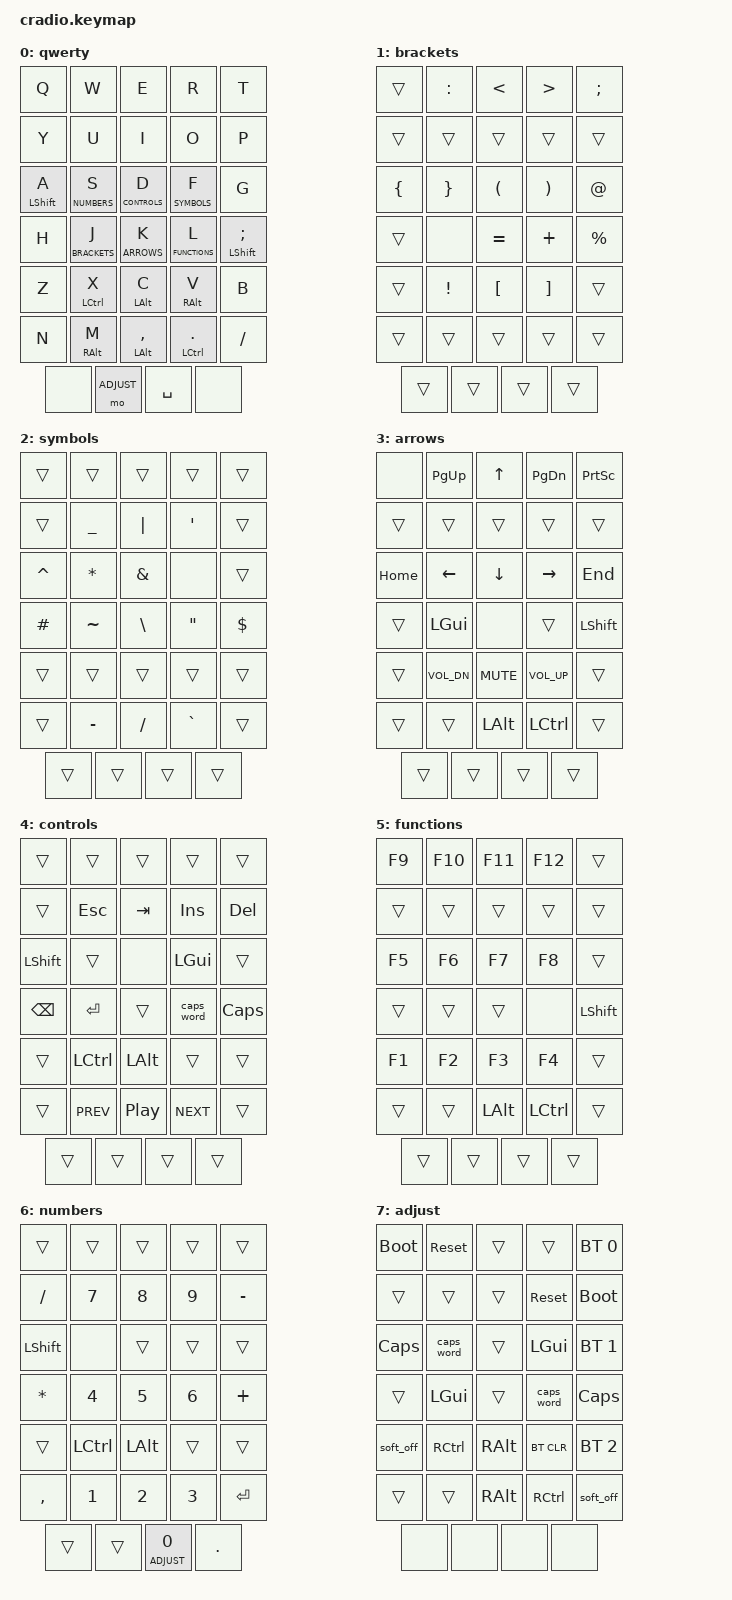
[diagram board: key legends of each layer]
// Copyright (c) 2022 The ZMK Contributors
// SPDX-License-Identifier: MIT

#include <behaviors.dtsi>
#include <dt-bindings/zmk/keys.h>
#include <dt-bindings/zmk/bt.h>

#define BRACKETS 1
#define SYMBOLS 2
#define ARROWS 3
#define CONTROLS 4
#define FUNCTIONS 5
#define NUMBERS 6
#define ADJUST 7

&caps_word {
	continue-list = <
	UNDERSCORE MINUS BACKSPACE DELETE
	>;
};

&soft_off {
	hold-time-ms = <2000>; /* Hold for 2 seconds to power off. */
};

&mt {
	flavor = "balanced";
	tapping-term-ms = <220>;
	quick-tap-ms = <150>;
};

&lt {
	flavor = "balanced";
	tapping-term-ms = <220>;
	quick-tap-ms = <150>;
};

/*
&mmv {
	acceleration-exponent = <1>;
	time-to-max-speed-ms = <300>;
	delay-ms = <0>;
	trigger-period-ms = <16>;
};

&msc {
	acceleration-exponent = <0>;
	time-to-max-speed-ms = <300>;
	delay-ms = <0>;
	trigger-period-ms = <16>;
};
*/

/ {
	/* A keymap ressembling Pierre Chevalier's default for Ferris, but with the numbers, functions, arrows, and mousekey layers on opposite sides from where they "should" be. Most of the ViM-specific features are removed, and some necessary functions for Bluetooth are added. */

	keymap {
		compatible = "zmk,keymap";
		qwerty {
			bindings = <
			&kp Q &kp W &kp E &kp R &kp T
				&kp Y &kp U &kp I &kp O &kp P
			&mt LSHFT A &lt NUMBERS S &lt CONTROLS D &lt SYMBOLS F &kp G
				&kp H &lt BRACKETS J &lt ARROWS K &lt FUNCTIONS L &mt LSHFT SEMI
			&kp Z &mt LCTRL X &mt LALT C &mt RALT V &kp B
				&kp N &mt RALT M &mt LALT COMMA &mt LCTRL DOT &kp FSLH
					&none &mo ADJUST &kp SPACE &none
			>;
		};

		brackets {
			bindings = <
			&trans &kp COLON &kp LT &kp GT &kp SEMI
				&trans &trans &trans &trans &trans
			&kp LBRC &kp RBRC &kp LPAR &kp RPAR &kp AT
				&trans &none &kp EQUAL &kp PLUS &kp PRCNT
			&trans &kp EXCL &kp LBKT &kp RBKT &trans
				&trans &trans &trans &trans &trans
					&trans &trans &trans &trans
			>;
		};

		symbols {
			bindings = <
			&trans &trans &trans &trans &trans
				&trans &kp UNDER &kp PIPE &kp SQT &trans
			&kp CARET &kp STAR &kp AMPS &none &trans
				&kp HASH &kp TILDE &kp BSLH &kp DQT &kp DLLR
			&trans &trans &trans &trans &trans
				&trans &kp MINUS &kp FSLH &kp GRAVE &trans
					&trans &trans &trans &trans
			>;
		};

		arrows {
			bindings = <
			&none &kp PG_UP &kp UP &kp PG_DN &kp PSCRN
				&trans &trans &trans &trans &trans
			&kp HOME &kp LEFT &kp DOWN &kp RIGHT &kp END
				&trans &kp LGUI &none &trans &kp LSHFT
			&trans &kp C_VOL_DN &kp C_MUTE &kp C_VOL_UP &trans
				&trans &trans &kp LALT &kp LCTRL &trans
					&trans &trans &trans &trans
			>;
		};

		controls {
			bindings = <
			&trans &trans &trans &trans &trans
				&trans &kp ESC &kp TAB &kp INS &kp DEL
			&kp LSHFT &trans &none &kp LGUI &trans
				&kp BSPC &kp ENTER &trans &caps_word &kp CAPS
			&trans &kp LCTRL &kp LALT &trans &trans
				&trans &kp C_PREV &kp C_PP &kp C_NEXT &trans
					&trans &trans &trans &trans
			>;
		};

		functions {
			bindings = <
			&kp F9 &kp F10 &kp F11 &kp F12 &trans
				&trans &trans &trans &trans &trans
			&kp F5 &kp F6 &kp F7 &kp F8 &trans
				&trans &trans &trans &none &kp LSHFT
			&kp F1 &kp F2 &kp F3 &kp F4 &trans
				&trans &trans &kp LALT &kp LCTRL &trans
					&trans &trans &trans &trans
			>;
		};

		numbers {
			bindings = <
			&trans &trans &trans &trans &trans
				&kp FSLH &kp N7 &kp N8 &kp N9 &kp MINUS
			&kp LSHFT &none &trans &trans &trans
				&kp STAR &kp N4 &kp N5 &kp N6 &kp PLUS
			&trans &kp LCTRL &kp LALT &trans &trans
				&kp COMMA &kp N1 &kp N2 &kp N3 &kp ENTER
					&trans &trans &lt ADJUST N0 &kp DOT
			>;
		};

		adjust {
			bindings = <
			&bootloader &sys_reset &trans &trans &bt BT_SEL 0
				&trans &trans &trans &sys_reset &bootloader
			&kp CAPS &caps_word &trans &kp LGUI &bt BT_SEL 1
				&trans &kp LGUI &trans &caps_word &kp CAPS
			&soft_off &kp RCTRL &kp RALT &bt BT_CLR &bt BT_SEL 2
				&trans &trans &kp RALT &kp RCTRL &soft_off
					&none &none &none &none
			>;
		};
	};
};
